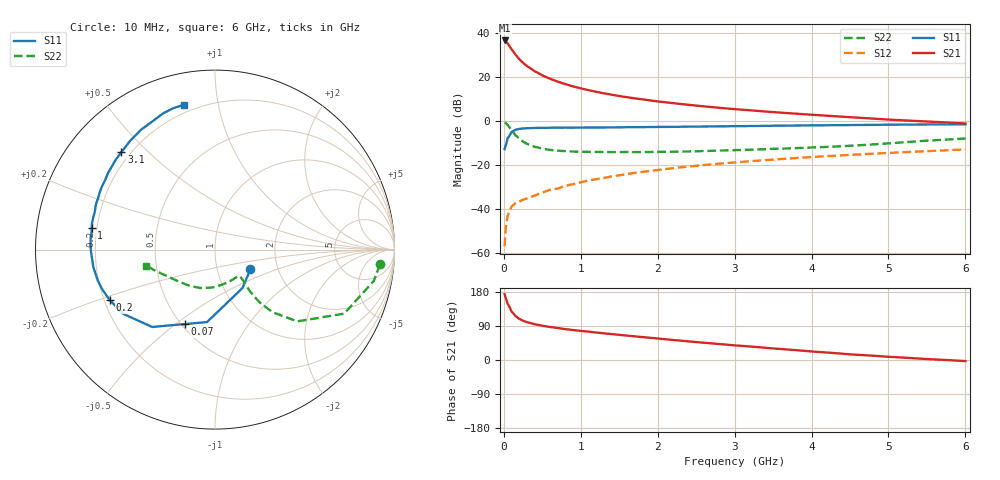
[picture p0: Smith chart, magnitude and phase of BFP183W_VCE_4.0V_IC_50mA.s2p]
! (c) 2017  Infineon Technologies AG, Munich
! Infineon Technologies  Discrete & RF Semiconductors
! BFP183W
! VCE =  4.0 V,  IC =  50 mA
! Common Emitter S-Parameters:  Jan 2017
# GHz  S  MA  R  50
!  f  S11  S21  S12  S22
! GHz  MAG  ANG  MAG  ANG  MAG  ANG  MAG  ANG
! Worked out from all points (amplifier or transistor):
!   77 points, 10 MHz to 6 GHz, reference 50 ohm
!   highest |S21| = 36.5 dB at 10 MHz (marker M1)
!   |S21| within 3 dB of that: start of sweep to 80.76 MHz
!   unconditionally stable (mu >= 1): 587.8 MHz to 3.448 GHz
!   at 130 MHz: K = 0.44, MSG = 34.6 dB, |S12| = -38.1 dB
!   at 2.2 GHz: K = 1.10, MAG = 12.9 dB, |S12| = -21.6 dB
!   at 6 GHz: K = 0.87, MSG = 5.9 dB, |S12| = -13.1 dB
!   S11 on the Smith chart (normalised r, x): 10 MHz: 1.45, -0.33; 70 MHz: 0.52, -0.54; 200 MHz: 0.22, -0.22; 1 GHz: 0.18, +0.09; 3.1 GHz: 0.17, +0.42; 6 GHz: 0.16, +0.80
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0.01  0.2258 -28.9  66.91 173.6  0.0014 84.2  0.9224 -5.1
0.02  0.2632 -54.4  65.36 166.2  0.003 86.4  0.9015 -11.2
0.05  0.4063 -96.3  57.29 148.1  0.0069 66.4  0.8032 -26.4
0.07  0.4471 -111.9  50.61 141.4  0.0085 61.2  0.7196 -31.3
0.1  0.5555 -129.1  42.38 127.7  0.0111 56.3  0.6076 -41.2
0.15  0.6239 -145.0  32.03 116.3  0.0133 48.7  0.4713 -47.5
0.2  0.6504 -154.3  25.25 108.7  0.0144 51.7  0.3893 -49.7
0.25  0.6663 -160.7  20.75 103.6  0.016 49.9  0.3347 -50.1
0.3  0.6754 -165.3  17.52 99.8  0.017 51.1  0.2981 -49.9
0.4  0.6848 -171.7  13.38 94.3  0.0198 56.4  0.255 -48.7
0.5  0.6874 -176.1  10.77 90.4  0.0231 57.7  0.2316 -47.7
0.6  0.6917 -179.8  9.02 87.1  0.0268 60.6  0.2169 -47.3
0.7  0.6942 177.4  7.742 84.3  0.0286 63.1  0.2078 -46.8
0.9  0.6944 172.1  6.028 79.1  0.0361 65.7  0.199 -48.1
1  0.6984 169.9  5.45 76.8  0.0396 66.6  0.1963 -49.1
1.1  0.7007 167.8  4.958 74.8  0.0437 66.6  0.1957 -50.2
1.5  0.7078 160.1  3.646 66.4  0.0573 67.2  0.1934 -57.0
2.1  0.7227 149.2  2.628 54.8  0.0794 65.9  0.196 -71.6
3.1  0.753 133.8  1.778 37.2  0.116 60.6  0.216 -100.2
4.1  0.7864 120.3  1.332 21.1  0.1525 54.0  0.2495 -127.6
5.1  0.8134 110.1  1.04 7.4  0.1885 47.0  0.3135 -153.1
6  0.8254 102.0  0.866 -2.9  0.2219 40.1  0.3933 -166.9
